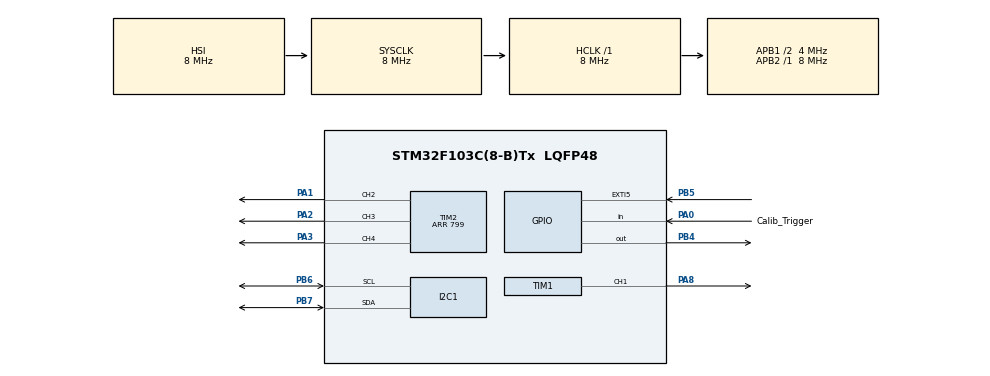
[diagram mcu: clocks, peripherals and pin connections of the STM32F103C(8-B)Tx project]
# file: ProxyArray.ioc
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I2C1.I2C_Mode=I2C_Standard
Mcu.Family=STM32F1
Mcu.Name=STM32F103C(8-B)Tx
Mcu.Package=LQFP48
NVIC.EXTI9_5_IRQn=true\:0\:0\:false\:false\:true\:true\:true\:true
NVIC.PriorityGroup=NVIC_PRIORITYGROUP_4
PA0-WKUP.GPIO_Label=Calib_Trigger
PA0-WKUP.GPIO_PuPd=GPIO_PULLUP
PA0-WKUP.Signal=GPIO_Input
PA1.Signal=S_TIM2_CH2
PA13.Mode=Serial_Wire
PA13.Signal=SYS_JTMS-SWDIO
PA14.Mode=Serial_Wire
PA14.Signal=SYS_JTCK-SWCLK
PA2.Signal=S_TIM2_CH3
PA3.Signal=S_TIM2_CH4
PA8.Signal=S_TIM1_CH1
PB4.Signal=GPIO_Output
PB5.GPIO_ModeDefaultEXTI=GPIO_MODE_IT_FALLING
PB5.Signal=GPXTI5
PB6.Mode=I2C
PB6.Signal=I2C1_SCL
PB7.Mode=I2C
PB7.Signal=I2C1_SDA
ProjectManager.HeapSize=0x200
ProjectManager.StackSize=0x400
ProjectManager.TargetToolchain=STM32CubeIDE
RCC.AHBFreq_Value=8000000
RCC.APB1CLKDivider=RCC_HCLK_DIV2
RCC.APB1Freq_Value=4000000
RCC.APB1TimFreq_Value=8000000
RCC.APB2Freq_Value=8000000
RCC.APB2TimFreq_Value=8000000
RCC.HCLKFreq_Value=8000000
RCC.PLLMUL=RCC_PLL_MUL8
RCC.SYSCLKFreq_VALUE=8000000
RCC.USBFreq_Value=32000000
SH.S_TIM1_CH1.0=TIM1_CH1,PWM Generation1 CH1
SH.S_TIM2_CH2.0=TIM2_CH2,PWM Generation2 CH2
SH.S_TIM2_CH3.0=TIM2_CH3,PWM Generation3 CH3
SH.S_TIM2_CH4.0=TIM2_CH4,PWM Generation4 CH4
TIM1.AutoReloadPreload=TIM_AUTORELOAD_PRELOAD_ENABLE
TIM1.Channel-PWM\ Generation1\ CH1=TIM_CHANNEL_1
TIM1.Period=799
TIM2.Channel-PWM\ Generation2\ CH2=TIM_CHANNEL_2
TIM2.Channel-PWM\ Generation3\ CH3=TIM_CHANNEL_3
TIM2.Channel-PWM\ Generation4\ CH4=TIM_CHANNEL_4
TIM2.Period=799
VP_TIM1_VS_ClockSourceINT.Mode=Internal
board=custom

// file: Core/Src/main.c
/* USER CODE BEGIN Header */
/**
 ******************************************************************************
 * @file           : main.c
 * @brief          : Main program body
 ******************************************************************************
 * @attention
 *
 * Copyright (c) 2024 STMicroelectronics.
 * All rights reserved.
 *
 * This software is licensed under terms that can be found in the LICENSE file
 * in the root directory of this software component.
 * If no LICENSE file comes with this software, it is provided AS-IS.
 *
 ******************************************************************************
 */
/* USER CODE END Header */
#include "main.h"

/* USER CODE BEGIN Includes */
#include <stdint.h>

#include "LDC1614.h"
/* USER CODE END Includes */

I2C_HandleTypeDef hi2c1;

TIM_HandleTypeDef htim1;
TIM_HandleTypeDef htim2;

/* USER CODE BEGIN PV */

HAL_StatusTypeDef hal_status;

static int read_error = 0;
int conv_resolution = 28;

int32_t f_sensor0_baseline = 0;
int32_t f_sensor1_baseline = 0;
int32_t f_sensor2_baseline = 0;
int32_t f_sensor3_baseline = 0;

static int32_t f_sensor0 = 0;
static int32_t f_sensor1 = 0;
static int32_t f_sensor2 = 0;
static int32_t f_sensor3 = 0;

double f0 = 0.0;
double f1 = 0.0;
double f2 = 0.0;
double f3 = 0.0;
double freq_sum = 0.0;

double current_position = 0.0;
float corrected_cur_pos = 0;
float section_1_threshold = 19.0;
float section_2_threshold = 39.3;

float max_position = 0.0;
float duty_cycle = 0;

int data_ready = 0;

// Debug vars
uint16_t config_reg;
uint16_t error_reg;

/* USER CODE END PV */

void SystemClock_Config(void);
static void MX_GPIO_Init(void);
static void MX_I2C1_Init(void);
static void MX_TIM2_Init(void);
static void MX_TIM1_Init(void);
/* USER CODE BEGIN PFP */
void set_duty_cycle();

void retrieve_calibration_data() {
  // Read the calibration data from the flash
  uint32_t flash_data[4];
  // Flash_Read_Data(0x08010000, flash_data, 4);
  LDC1614_Use_CalibrationData(flash_data);

  f_sensor0_baseline = flash_data[0];
  f_sensor1_baseline = flash_data[1];
  f_sensor2_baseline = flash_data[2];
  f_sensor3_baseline = flash_data[3];
}

double correct_neg_f(double f) {
  if (f < 0)
    return 0;
  else
    return f;
}
// Define the polynomial functions
double section_1_poln(double x) {
  return 0.000152012 * x * x * x * x * x - 0.00745952 * x * x * x * x +
         0.1386879 * x * x * x - 1.2114062 * x * x + 5.5180193 * x - 5.1243179;
}

double section_2_poln(double x) {
  return 0.000153428 * x * x * x * x * x - 0.022352 * x * x * x * x +
         1.289149 * x * x * x - 36.796475 * x * x + 520.31012 * x - 2893.7671;
}

double section_3_poln(double x) {
  return 0.00017577 * x * x * x * x * x - 0.04326238 * x * x * x * x +
         4.2515465 * x * x * x - 208.51761 * x * x + 5104.0767 * x - 49840.312;
}
void position_decoder(double f0, double f1, double f2, double f3) {
  double right_most = correct_neg_f(f3);
  double right_mid = correct_neg_f(f1);
  double left_mid = correct_neg_f(f2);
  double left_most = correct_neg_f(f0);

  // Differences in coils (in mm) as measured on the eagle PCB.
  float p0 = 0.0, p1 = 0 + 20.0, p2 = 0 + 20 + 20.0, p3 = 0 + 20 + 20 + 20.0;
  max_position = p3;

  double total_freq = right_most + right_mid + left_mid + left_most;

  freq_sum += total_freq;

  if (total_freq == 0) total_freq = 1;  // Prevent a div by ZERO

  current_position =
      (right_most * p0 + right_mid * p1 + left_mid * p2 + left_most * p3) /
      total_freq;

  if (current_position < section_1_threshold) {
    corrected_cur_pos = section_1_poln(current_position);
  } else if (current_position < section_2_threshold) {
    corrected_cur_pos = section_2_poln(current_position);
  } else {
    corrected_cur_pos = section_3_poln(current_position);
  }

  set_duty_cycle();
}

void set_duty_cycle() {
  duty_cycle = (corrected_cur_pos / max_position);

  if (duty_cycle > 1.0f) duty_cycle = 1.0f;
  if (duty_cycle < 0.0f) duty_cycle = 0.0f;

  TIM1->CCR1 = duty_cycle * (TIM1->ARR);  // To the op-amp
  TIM2->CCR1 = duty_cycle * (TIM2->ARR);  // To the
}

/* USER CODE END PFP */

/* USER CODE BEGIN 0 */

// TESTING CODE
#define MAX_DATA_POINTS 200
struct SensorData {
  uint32_t timestamp;
  uint16_t out_duty_cycle;
  float target_position;
  double f_isum;
};

struct SensorData sensor_data[MAX_DATA_POINTS];
uint16_t data_index = 0;

void collect_data(uint32_t timestamp) {
  if (data_index < MAX_DATA_POINTS) {
    sensor_data[data_index].timestamp = timestamp;
    sensor_data[data_index].out_duty_cycle = current_position;
    sensor_data[data_index].target_position = corrected_cur_pos;
    sensor_data[data_index].f_isum = freq_sum / 1000;
    data_index++;
  }
}

int enough_samples() { return (data_index >= MAX_DATA_POINTS); }

/* USER CODE END 0 */

int main(void) {
  /* USER CODE BEGIN 1 */
  uint8_t buf[6];
  /* USER CODE END 1 */

  /* MCU Configuration--------------------------------------------------------*/

  /* Reset of all peripherals, Initializes the Flash interface and the Systick.
   */
  HAL_Init();

  /* Configure the system clock */
  SystemClock_Config();

  /* Initialize all configured peripherals */
  MX_GPIO_Init();
  MX_I2C1_Init();
  MX_TIM2_Init();
  MX_TIM1_Init();
  /* USER CODE BEGIN 2 */
  /*
   * LDC config
   *
   * Each channel current drive is set independently between 16 µA and 1.6 mA by
   * setting the corresponding IDRIVEx register field
   *
   * */

  /* Mux Config register configuration */
  uint16_t AUTOSCAN_EN = 0b1 << 15;
  uint16_t RR_SEQUENCE = 0b10 << 13;
  uint16_t RESERVED = 0b0001000001 << 3;
  uint16_t DEGLITCH = 0b101 << 0;

  uint16_t mux_config_reg = AUTOSCAN_EN | RR_SEQUENCE | RESERVED | DEGLITCH;

  LDC1614_Configure_MUX(mux_config_reg);

  /* Resolution configuration */
  uint16_t max_res = 0xFFFF;
  // writeToMultipleRegisters(max_res, RCOUNT0, RCOUNT3);  // Max Resolution
  LDC1614_Set_Resolution(max_res);

  /* Setting the Settling Time */
  uint16_t settling_time = 0x0014;
  LDC1614_Set_SettlingTime(settling_time);

  /* CLOCK_DIVIDERS configuration */
  uint16_t clock_divider = 0x1001;
  LDC1614_Set_ClockDividers(clock_divider);

  /* DRIVE CURRENT configuration */
  uint16_t IDRIVE = 0b11011 << 11;
  uint16_t INIT_IDRIVE = 0b00000 << 6;
  uint16_t DR_RESERVED = 0b000000 << 0;
  uint16_t drive_cur_reg = drive_cur_reg = IDRIVE | INIT_IDRIVE | DR_RESERVED;

  LDC1614_Set_DriveCurrent(drive_cur_reg);

  LDC1614_Interrupt_init();
  LDC1614_Init_Common_Config();

  LDC1614_WakeUP();

  if (HAL_GPIO_ReadPin(GPIOA, Calib_Trigger_Pin) == GPIO_PIN_RESET) {
    // Calibrate the sensors
    LDC1614_Calibrate();
    __NOP();
    __NOP();
    __NOP();
  }
  retrieve_calibration_data();

  HAL_TIM_PWM_Start(&htim1, TIM_CHANNEL_1);
  HAL_TIM_PWM_Start(&htim2, TIM_CHANNEL_1);

  /* USER CODE END 2 */

  /* Infinite loop */
  /* USER CODE BEGIN WHILE */
  while (1) {
    __NOP();
    if (data_ready) {
      data_ready = 0;
      LDC1614_DeAssert_Interrupt();

      f_sensor0 = LDC1614_Read_SensorData(0) - (int32_t)f_sensor0_baseline;
      f_sensor1 = LDC1614_Read_SensorData(1) - (int32_t)f_sensor1_baseline;
      f_sensor2 = LDC1614_Read_SensorData(2) - (int32_t)f_sensor2_baseline;
      f_sensor3 = LDC1614_Read_SensorData(3) - (int32_t)f_sensor3_baseline;

      f0 = f_sensor0;
      f1 = f_sensor1;
      f2 = f_sensor2;
      f3 = f_sensor3;

      position_decoder(f0, f1, f2, f3);
      __NOP();
      // TESTING CODE
      //      uint32_t current_time = HAL_GetTick();
      //      collect_data(current_time);
    }

    /* USER CODE END WHILE */

    /* USER CODE BEGIN 3 */
  }

  // export_data();

  /* USER CODE END 3 */
}

void SystemClock_Config(void) {
  RCC_OscInitTypeDef RCC_OscInitStruct = {0};
  RCC_ClkInitTypeDef RCC_ClkInitStruct = {0};

  /** Initializes the RCC Oscillators according to the specified parameters
   * in the RCC_OscInitTypeDef structure.
   */
  RCC_OscInitStruct.OscillatorType = RCC_OSCILLATORTYPE_HSI;
  RCC_OscInitStruct.HSIState = RCC_HSI_ON;
  RCC_OscInitStruct.HSICalibrationValue = RCC_HSICALIBRATION_DEFAULT;
  RCC_OscInitStruct.PLL.PLLState = RCC_PLL_NONE;
  if (HAL_RCC_OscConfig(&RCC_OscInitStruct) != HAL_OK) {
    Error_Handler();
  }

  /** Initializes the CPU, AHB and APB buses clocks
   */
  RCC_ClkInitStruct.ClockType = RCC_CLOCKTYPE_HCLK | RCC_CLOCKTYPE_SYSCLK |
                                RCC_CLOCKTYPE_PCLK1 | RCC_CLOCKTYPE_PCLK2;
  RCC_ClkInitStruct.SYSCLKSource = RCC_SYSCLKSOURCE_HSI;
  RCC_ClkInitStruct.AHBCLKDivider = RCC_SYSCLK_DIV1;
  RCC_ClkInitStruct.APB1CLKDivider = RCC_HCLK_DIV2;
  RCC_ClkInitStruct.APB2CLKDivider = RCC_HCLK_DIV1;

  if (HAL_RCC_ClockConfig(&RCC_ClkInitStruct, FLASH_LATENCY_0) != HAL_OK) {
    Error_Handler();
  }
}

static void MX_I2C1_Init(void) {

  hi2c1.Instance = I2C1;
  hi2c1.Init.ClockSpeed = 100000;
  hi2c1.Init.DutyCycle = I2C_DUTYCYCLE_2;
  hi2c1.Init.OwnAddress1 = 0;
  hi2c1.Init.AddressingMode = I2C_ADDRESSINGMODE_7BIT;
  hi2c1.Init.DualAddressMode = I2C_DUALADDRESS_DISABLE;
  hi2c1.Init.OwnAddress2 = 0;
  hi2c1.Init.GeneralCallMode = I2C_GENERALCALL_DISABLE;
  hi2c1.Init.NoStretchMode = I2C_NOSTRETCH_DISABLE;
  if (HAL_I2C_Init(&hi2c1) != HAL_OK) {
    Error_Handler();
  }
}

static void MX_TIM1_Init(void) {

  TIM_ClockConfigTypeDef sClockSourceConfig = {0};
  TIM_MasterConfigTypeDef sMasterConfig = {0};
  TIM_OC_InitTypeDef sConfigOC = {0};
  TIM_BreakDeadTimeConfigTypeDef sBreakDeadTimeConfig = {0};

  htim1.Instance = TIM1;
  htim1.Init.Prescaler = 0;
  htim1.Init.CounterMode = TIM_COUNTERMODE_UP;
  htim1.Init.Period = 799;
  htim1.Init.ClockDivision = TIM_CLOCKDIVISION_DIV1;
  htim1.Init.RepetitionCounter = 0;
  htim1.Init.AutoReloadPreload = TIM_AUTORELOAD_PRELOAD_ENABLE;
  if (HAL_TIM_Base_Init(&htim1) != HAL_OK) {
    Error_Handler();
  }
  sClockSourceConfig.ClockSource = TIM_CLOCKSOURCE_INTERNAL;
  if (HAL_TIM_ConfigClockSource(&htim1, &sClockSourceConfig) != HAL_OK) {
    Error_Handler();
  }
  if (HAL_TIM_PWM_Init(&htim1) != HAL_OK) {
    Error_Handler();
  }
  sMasterConfig.MasterOutputTrigger = TIM_TRGO_RESET;
  sMasterConfig.MasterSlaveMode = TIM_MASTERSLAVEMODE_DISABLE;
  if (HAL_TIMEx_MasterConfigSynchronization(&htim1, &sMasterConfig) != HAL_OK) {
    Error_Handler();
  }
  sConfigOC.OCMode = TIM_OCMODE_PWM1;
  sConfigOC.Pulse = 0;
  sConfigOC.OCPolarity = TIM_OCPOLARITY_HIGH;
  sConfigOC.OCNPolarity = TIM_OCNPOLARITY_HIGH;
  sConfigOC.OCFastMode = TIM_OCFAST_DISABLE;
  sConfigOC.OCIdleState = TIM_OCIDLESTATE_RESET;
  sConfigOC.OCNIdleState = TIM_OCNIDLESTATE_RESET;
  if (HAL_TIM_PWM_ConfigChannel(&htim1, &sConfigOC, TIM_CHANNEL_1) != HAL_OK) {
    Error_Handler();
  }
  sBreakDeadTimeConfig.OffStateRunMode = TIM_OSSR_DISABLE;
  sBreakDeadTimeConfig.OffStateIDLEMode = TIM_OSSI_DISABLE;
  sBreakDeadTimeConfig.LockLevel = TIM_LOCKLEVEL_OFF;
  sBreakDeadTimeConfig.DeadTime = 0;
  sBreakDeadTimeConfig.BreakState = TIM_BREAK_DISABLE;
  sBreakDeadTimeConfig.BreakPolarity = TIM_BREAKPOLARITY_HIGH;
  sBreakDeadTimeConfig.AutomaticOutput = TIM_AUTOMATICOUTPUT_DISABLE;
  if (HAL_TIMEx_ConfigBreakDeadTime(&htim1, &sBreakDeadTimeConfig) != HAL_OK) {
    Error_Handler();
  }
  HAL_TIM_MspPostInit(&htim1);
}

static void MX_TIM2_Init(void) {

  TIM_MasterConfigTypeDef sMasterConfig = {0};
  TIM_OC_InitTypeDef sConfigOC = {0};

  htim2.Instance = TIM2;
  htim2.Init.Prescaler = 0;
  htim2.Init.CounterMode = TIM_COUNTERMODE_UP;
  htim2.Init.Period = 799;
  htim2.Init.ClockDivision = TIM_CLOCKDIVISION_DIV1;
  htim2.Init.AutoReloadPreload = TIM_AUTORELOAD_PRELOAD_DISABLE;
  if (HAL_TIM_PWM_Init(&htim2) != HAL_OK) {
    Error_Handler();
  }
  sMasterConfig.MasterOutputTrigger = TIM_TRGO_RESET;
  sMasterConfig.MasterSlaveMode = TIM_MASTERSLAVEMODE_DISABLE;
  if (HAL_TIMEx_MasterConfigSynchronization(&htim2, &sMasterConfig) != HAL_OK) {
    Error_Handler();
  }
  sConfigOC.OCMode = TIM_OCMODE_PWM1;
  sConfigOC.Pulse = 0;
  sConfigOC.OCPolarity = TIM_OCPOLARITY_HIGH;
  sConfigOC.OCFastMode = TIM_OCFAST_DISABLE;
  if (HAL_TIM_PWM_ConfigChannel(&htim2, &sConfigOC, TIM_CHANNEL_2) != HAL_OK) {
    Error_Handler();
  }
  if (HAL_TIM_PWM_ConfigChannel(&htim2, &sConfigOC, TIM_CHANNEL_3) != HAL_OK) {
    Error_Handler();
  }
  if (HAL_TIM_PWM_ConfigChannel(&htim2, &sConfigOC, TIM_CHANNEL_4) != HAL_OK) {
    Error_Handler();
  }
  HAL_TIM_MspPostInit(&htim2);
}

static void MX_GPIO_Init(void) {
  GPIO_InitTypeDef GPIO_InitStruct = {0};

  /* GPIO Ports Clock Enable */
  __HAL_RCC_GPIOC_CLK_ENABLE();
  __HAL_RCC_GPIOD_CLK_ENABLE();
  __HAL_RCC_GPIOA_CLK_ENABLE();
  __HAL_RCC_GPIOB_CLK_ENABLE();

  /*Configure GPIO pin Output Level */
  HAL_GPIO_WritePin(GPIOB, GPIO_PIN_4, GPIO_PIN_RESET);

  /*Configure GPIO pins : PC13 PC14 PC15 */
  GPIO_InitStruct.Pin = GPIO_PIN_13 | GPIO_PIN_14 | GPIO_PIN_15;
  GPIO_InitStruct.Mode = GPIO_MODE_ANALOG;
  HAL_GPIO_Init(GPIOC, &GPIO_InitStruct);

  /*Configure GPIO pins : PD0 PD1 */
  GPIO_InitStruct.Pin = GPIO_PIN_0 | GPIO_PIN_1;
  GPIO_InitStruct.Mode = GPIO_MODE_ANALOG;
  HAL_GPIO_Init(GPIOD, &GPIO_InitStruct);

  /*Configure GPIO pin : Calib_Trigger_Pin */
  GPIO_InitStruct.Pin = Calib_Trigger_Pin;
  GPIO_InitStruct.Mode = GPIO_MODE_INPUT;
  GPIO_InitStruct.Pull = GPIO_PULLUP;
  HAL_GPIO_Init(Calib_Trigger_GPIO_Port, &GPIO_InitStruct);

  /*Configure GPIO pins : PA4 PA5 PA6 PA7
                           PA9 PA10 PA11 PA12
                           PA15 */
  GPIO_InitStruct.Pin = GPIO_PIN_4 | GPIO_PIN_5 | GPIO_PIN_6 | GPIO_PIN_7 |
                        GPIO_PIN_9 | GPIO_PIN_10 | GPIO_PIN_11 | GPIO_PIN_12 |
                        GPIO_PIN_15;
  GPIO_InitStruct.Mode = GPIO_MODE_ANALOG;
  HAL_GPIO_Init(GPIOA, &GPIO_InitStruct);

  /*Configure GPIO pins : PB0 PB1 PB2 PB10
                           PB11 PB12 PB13 PB14
                           PB15 PB3 PB8 PB9 */
  GPIO_InitStruct.Pin = GPIO_PIN_0 | GPIO_PIN_1 | GPIO_PIN_2 | GPIO_PIN_10 |
                        GPIO_PIN_11 | GPIO_PIN_12 | GPIO_PIN_13 | GPIO_PIN_14 |
                        GPIO_PIN_15 | GPIO_PIN_3 | GPIO_PIN_8 | GPIO_PIN_9;
  GPIO_InitStruct.Mode = GPIO_MODE_ANALOG;
  HAL_GPIO_Init(GPIOB, &GPIO_InitStruct);

  /*Configure GPIO pin : PB4 */
  GPIO_InitStruct.Pin = GPIO_PIN_4;
  GPIO_InitStruct.Mode = GPIO_MODE_OUTPUT_PP;
  GPIO_InitStruct.Pull = GPIO_NOPULL;
  GPIO_InitStruct.Speed = GPIO_SPEED_FREQ_LOW;
  HAL_GPIO_Init(GPIOB, &GPIO_InitStruct);

  /*Configure GPIO pin : PB5 */
  GPIO_InitStruct.Pin = GPIO_PIN_5;
  GPIO_InitStruct.Mode = GPIO_MODE_IT_FALLING;
  GPIO_InitStruct.Pull = GPIO_NOPULL;
  HAL_GPIO_Init(GPIOB, &GPIO_InitStruct);

  /*Configure peripheral I/O remapping */
  __HAL_AFIO_REMAP_PD01_ENABLE();

  /* EXTI interrupt init*/
  HAL_NVIC_SetPriority(EXTI9_5_IRQn, 0, 0);
  HAL_NVIC_EnableIRQ(EXTI9_5_IRQn);

}

/* USER CODE BEGIN 4 */
void HAL_GPIO_EXTI_Callback(uint16_t GPIO_Pin) {
  if (GPIO_Pin == GPIO_PIN_5) {
    data_ready = 1;
  } else {
    __NOP();
  }
}
/* USER CODE END 4 */

void Error_Handler(void) {
  __disable_irq();
  while (1) {
  }
}

#ifdef USE_FULL_ASSERT
/**
 * @brief  Reports the name of the source file and the source line number
 *         where the assert_param error has occurred.
 * @param  file: pointer to the source file name
 * @param  line: assert_param error line source number
 * @retval None
 */
void assert_failed(uint8_t *file, uint32_t line) {
  /* USER CODE BEGIN 6 */
  /* User can add his own implementation to report the file name and line
     number, ex: printf("Wrong parameters value: file %s on line %d\r\n", file,
     line) */
  /* USER CODE END 6 */
}
#endif /* USE_FULL_ASSERT */
